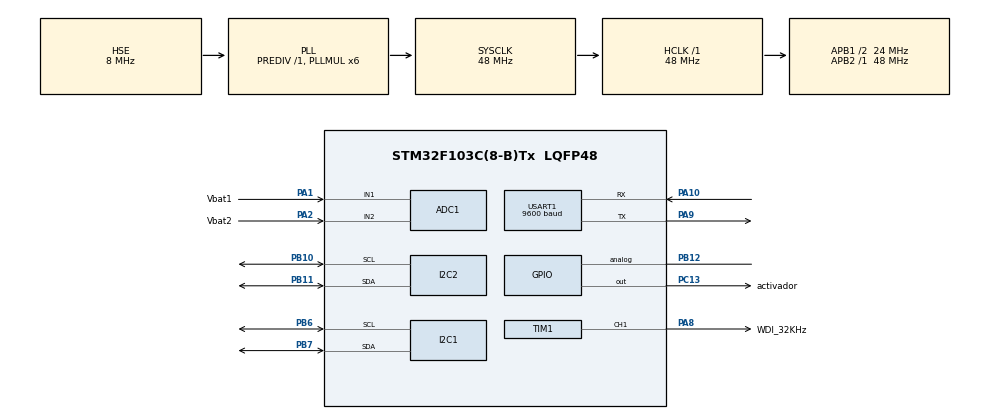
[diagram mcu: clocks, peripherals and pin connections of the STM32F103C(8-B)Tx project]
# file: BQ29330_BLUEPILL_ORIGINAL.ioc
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ADC1.Channel-0\#ChannelRegularConversion=ADC_CHANNEL_1
ADC1.Channel-1\#ChannelRegularConversion=ADC_CHANNEL_2
ADC1.ContinuousConvMode=ENABLE
ADC1.NbrOfConversion=2
ADC1.NbrOfConversionFlag=1
ADC1.Rank-0\#ChannelRegularConversion=1
ADC1.Rank-1\#ChannelRegularConversion=2
ADC1.SamplingTime-0\#ChannelRegularConversion=ADC_SAMPLETIME_239CYCLES_5
ADC1.SamplingTime-1\#ChannelRegularConversion=ADC_SAMPLETIME_239CYCLES_5
ADC1.master=1
Dma.ADC1.0.Direction=DMA_PERIPH_TO_MEMORY
Dma.ADC1.0.Instance=DMA1_Channel1
Dma.ADC1.0.MemDataAlignment=DMA_MDATAALIGN_HALFWORD
Dma.ADC1.0.MemInc=DMA_MINC_ENABLE
Dma.ADC1.0.Mode=DMA_CIRCULAR
Dma.ADC1.0.PeriphDataAlignment=DMA_PDATAALIGN_HALFWORD
Dma.ADC1.0.PeriphInc=DMA_PINC_DISABLE
Dma.ADC1.0.Priority=DMA_PRIORITY_LOW
Dma.Request0=ADC1
Mcu.Family=STM32F1
Mcu.Name=STM32F103C(8-B)Tx
Mcu.Package=LQFP48
NVIC.ADC1_2_IRQn=true\:0\:0\:false\:false\:true\:true\:true\:true
NVIC.DMA1_Channel1_IRQn=true\:0\:0\:false\:false\:true\:false\:true\:true
NVIC.PriorityGroup=NVIC_PRIORITYGROUP_4
PA1.GPIO_Label=Vbat1
PA1.Signal=ADCx_IN1
PA10.Mode=Asynchronous
PA10.Signal=USART1_RX
PA13.Mode=Serial_Wire
PA13.Signal=SYS_JTMS-SWDIO
PA14.Mode=Serial_Wire
PA14.Signal=SYS_JTCK-SWCLK
PA2.GPIO_Label=Vbat2
PA2.Signal=ADCx_IN2
PA8.GPIO_Label=WDI_32KHz
PA8.Signal=S_TIM1_CH1
PA9.Mode=Asynchronous
PA9.Signal=USART1_TX
PB10.Mode=I2C
PB10.Signal=I2C2_SCL
PB11.Mode=I2C
PB11.Signal=I2C2_SDA
PB12.Signal=GPIO_Analog
PB6.Mode=I2C
PB6.Signal=I2C1_SCL
PB7.Mode=I2C
PB7.Signal=I2C1_SDA
PC13-TAMPER-RTC.GPIO_Label=activador
PC13-TAMPER-RTC.Signal=GPIO_Output
PD0-OSC_IN.Mode=HSE-External-Oscillator
PD0-OSC_IN.Signal=RCC_OSC_IN
PD1-OSC_OUT.Mode=HSE-External-Oscillator
PD1-OSC_OUT.Signal=RCC_OSC_OUT
ProjectManager.HeapSize=0x200
ProjectManager.StackSize=0x400
ProjectManager.TargetToolchain=STM32CubeIDE
RCC.ADCPresc=RCC_ADCPCLK2_DIV4
RCC.AHBFreq_Value=48000000
RCC.APB1CLKDivider=RCC_HCLK_DIV2
RCC.APB1Freq_Value=24000000
RCC.APB1TimFreq_Value=48000000
RCC.APB2Freq_Value=48000000
RCC.APB2TimFreq_Value=48000000
RCC.HCLKFreq_Value=48000000
RCC.PLLMUL=RCC_PLL_MUL6
RCC.PLLSourceVirtual=RCC_PLLSOURCE_HSE
RCC.SYSCLKFreq_VALUE=48000000
RCC.SYSCLKSource=RCC_SYSCLKSOURCE_PLLCLK
RCC.USBFreq_Value=48000000
SH.ADCx_IN1.0=ADC1_IN1,IN1
SH.ADCx_IN2.0=ADC1_IN2,IN2
SH.S_TIM1_CH1.0=TIM1_CH1,PWM Generation1 CH1
TIM1.Channel-PWM\ Generation1\ CH1=TIM_CHANNEL_1
TIM1.ClockDivision=TIM_CLOCKDIVISION_DIV2
TIM1.Period=750
TIM1.Prescaler=1
USART1.BaudRate=9600
USART1.VirtualMode=VM_ASYNC
board=custom

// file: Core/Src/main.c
/* USER CODE BEGIN Header */
/**
  ******************************************************************************
  * @file           : main.c
  * @brief          : Main program body
  ******************************************************************************
  * @attention
  *
  * Copyright (c) 2025 STMicroelectronics.
  * All rights reserved.
  *
  * This software is licensed under terms that can be found in the LICENSE file
  * in the root directory of this software component.
  * If no LICENSE file comes with this software, it is provided AS-IS.
  *
  ******************************************************************************
  */
/* USER CODE END Header */
#include "main.h"
#include "adc.h"
#include "dma.h"
#include "i2c.h"
#include "tim.h"
#include "usart.h"
#include "gpio.h"

/* USER CODE BEGIN PD */
#define DELAY 1000
/* USER CODE END PD */

void SystemClock_Config(void);

/* USER CODE BEGIN 0 */
uint8_t convCompleted=0;

void HAL_ADC_ConvCpltCallback(ADC_HandleTypeDef* hadc)
{
	convCompleted=1;
}

/* USER CODE END 0 */

int main(void)
{

  /* MCU Configuration--------------------------------------------------------*/

  /* Reset of all peripherals, Initializes the Flash interface and the Systick. */
  HAL_Init();

  /* Configure the system clock */
  SystemClock_Config();

  /* Initialize all configured peripherals */
  MX_GPIO_Init();
  MX_DMA_Init();
  MX_USART1_UART_Init();
  MX_ADC1_Init();
  MX_TIM1_Init();
  MX_I2C1_Init();
  MX_I2C2_Init();
  /* USER CODE BEGIN 2 */

  //start PWMs and set the duty to 50%
  HAL_TIM_PWM_Start(&htim1, TIM_CHANNEL_1);
  __HAL_TIM_SET_COMPARE(&htim1, TIM_CHANNEL_1, htim1.Init.Period/2);

  //ADC Variables
   uint16_t rawValues[2];
   HAL_ADC_Start_DMA(&hadc1,(uint32_t *) rawValues, 2);

   //BMS
   BQ29330_WriteRegister(BQ29330_OUTPUT_CONTROL,0x06);
   BQ29330_Device bq = { .hi2c = &hi2c1 };
   int n = 0;

  /* USER CODE END 2 */

  /* Infinite loop */
  while (1)
  {

    /* USER CODE BEGIN 3 */

	//read all adcs
	while(!convCompleted);

	uint16_t cell_mas = rawValues[0] * CONVERSION_FACTOR;
	uint16_t cell_menos = rawValues[1] * CONVERSION_FACTOR;
	uint16_t difference = BMSVoltageCorrection(cell_mas - cell_menos); //correcion tener la tension de la celda
	//sendUsartMsg("Tension cell +: ", rawValues[0]);
	sendUsartMsg("Tension cell -: ", rawValues[1]);
//	sendUsartMsg("Tension celda: ", difference);

/*
	// Imprimo cosas por i2c al arduino
	char buffer[STR_LEN];
	snprintf(buffer, STR_LEN, "\n \n I LIKE THE WAY YOU WORKING \n");
	HAL_I2C_Master_Transmit(&hi2c1, ARDUINO_I2C_ADDRESS << 1, (uint8_t *) buffer, strlen(buffer), HAL_MAX_DELAY);
    sprintf(buffer,"Corriente: %u \n", current);
	HAL_I2C_Master_Transmit(&hi2c1, ARDUINO_I2C_ADDRESS << 1, (uint8_t*)buffer, strlen(buffer), HAL_MAX_DELAY);
*/
	//FORMA NUEVA DE IMPRIMIR LLAMANDO A UNA FUNCION SI NO ANDA USAR LA FORMA VIEJA

	//BMS 29330

    //escribo
    BQ29330_WriteRegister(BQ29330_STATE_CONTROL, 0x0C);   // WDDIS = 1, all else = 0
    BQ29330_WriteRegister(BQ29330_FUNCTION_CONTROL, 0x01); // VMEN||BAT = 0
    BQ29330_WriteRegister(BQ29330_CELL, 0x01); 			   //
    BQ29330_WriteRegister(BQ29330_OLV, 0x00);              // 50 mV 0x00
    BQ29330_WriteRegister(BQ29330_OLD, 0x0F);              // 31 ms
    BQ29330_WriteRegister(BQ29330_SCC, 0x00);              // 475 mV y 915 μs
    BQ29330_WriteRegister(BQ29330_SCD, 0x00);              // idem for discharge
    n++;
    n = n%2;

    //leo
	HAL_StatusTypeDef statusI2c = BQ29330_ReadFunctionControl(BQ29330_STATUS, &bq.BQ29330_status);

	//LEO el registro que escribi
	statusI2c =  BQ29330_ReadFunctionControl(BQ29330_OUTPUT_CONTROL, &bq.BQ29330_output_countrol);
	statusI2c =  BQ29330_ReadFunctionControl(BQ29330_STATE_CONTROL, &bq.BQ29330_state_countrol);
	statusI2c =  BQ29330_ReadFunctionControl(BQ29330_FUNCTION_CONTROL, &bq.BQ29330_function_control);
	statusI2c =  BQ29330_ReadFunctionControl(BQ29330_CELL, &bq.BQ29330_cell);
	statusI2c =  BQ29330_ReadFunctionControl(BQ29330_OLV, &bq.BQ29330_OLV);
	statusI2c =  BQ29330_ReadFunctionControl(BQ29330_OLD, &bq.BQ29330_OLD);
	statusI2c =  BQ29330_ReadFunctionControl(BQ29330_SCC, &bq.BQ29330_SCC);
	statusI2c =  BQ29330_ReadFunctionControl(BQ29330_SCD, &bq.BQ29330_SCD);
/*
	sendUsartMsg("statusI2c : ", statusI2c);
	sendUsartMsg("celda medida : ", n + 1);

	sendUsartMsg("Estatus del bms : ", bq.BQ29330_status);
	sendUsartMsg("OUTPUT_CONTROL : ", bq.BQ29330_output_countrol);
	sendUsartMsg("STATE_CONTROL : ", bq.BQ29330_state_countrol);
	sendUsartMsg("FUNCTION_CONTROL : ", bq.BQ29330_function_control);
	sendUsartMsg("CELL : ", bq.BQ29330_cell);
	sendUsartMsg("OLV (Overload voltage threshold): ", bq.BQ29330_OLV);
	sendUsartMsg("OLD (Overload delay time): ", bq.BQ29330_OLD);
	sendUsartMsg("SCC (Short circuit in charge): ", bq.BQ29330_SCC);
	sendUsartMsg("SCD (Short circuit in discharge): ", bq.BQ29330_SCD);

*/
	//si hay una fall reiniciar el bq
	if(bq.BQ29330_status & (1U << 4) || (bq.BQ29330_status && bq.BQ29330_status != 16)){
	    BQ29330_WriteRegister(BQ29330_OUTPUT_CONTROL,0x07);
	    BQ29330_WriteRegister(BQ29330_OUTPUT_CONTROL,0x06);
		statusI2c = BQ29330_ReadFunctionControl(BQ29330_STATUS, &bq.BQ29330_status);
	    sendUsartMsg("Estatus del bms despues del latch: ", bq.BQ29330_status);
    }

	sendUsartMsg("\n", 1);

/*
	uint16_t shuntVoltage = INA219_ReadShuntVoltage();
	uint16_t busVoltage = INA219_ReadBusVoltage();
	uint16_t current_mA = INA219_ReadCurrent();
	uint16_t power_mW = INA219_ReadPower();
	uint16_t loadVoltage = busVoltage + (shuntVoltage / 1000.0f);
	sendI2CMsg("Bus Voltage: ", busVoltage);
	sendI2CMsg("Shunt Voltage: ", shuntVoltage);
	sendI2CMsg("Load Voltage: ", loadVoltage);
	sendI2CMsg("Current: ", current_mA);
	sendI2CMsg("Power: ", power_mW);
*/

	HAL_GPIO_TogglePin(GPIOC, GPIO_PIN_13);

	HAL_Delay(DELAY);

  }
  /* USER CODE END 3 */
}

void SystemClock_Config(void)
{
  RCC_OscInitTypeDef RCC_OscInitStruct = {0};
  RCC_ClkInitTypeDef RCC_ClkInitStruct = {0};
  RCC_PeriphCLKInitTypeDef PeriphClkInit = {0};

  /** Initializes the RCC Oscillators according to the specified parameters
  * in the RCC_OscInitTypeDef structure.
  */
  RCC_OscInitStruct.OscillatorType = RCC_OSCILLATORTYPE_HSE;
  RCC_OscInitStruct.HSEState = RCC_HSE_ON;
  RCC_OscInitStruct.HSEPredivValue = RCC_HSE_PREDIV_DIV1;
  RCC_OscInitStruct.HSIState = RCC_HSI_ON;
  RCC_OscInitStruct.PLL.PLLState = RCC_PLL_ON;
  RCC_OscInitStruct.PLL.PLLSource = RCC_PLLSOURCE_HSE;
  RCC_OscInitStruct.PLL.PLLMUL = RCC_PLL_MUL6;
  if (HAL_RCC_OscConfig(&RCC_OscInitStruct) != HAL_OK)
  {
    Error_Handler();
  }

  /** Initializes the CPU, AHB and APB buses clocks
  */
  RCC_ClkInitStruct.ClockType = RCC_CLOCKTYPE_HCLK|RCC_CLOCKTYPE_SYSCLK
                              |RCC_CLOCKTYPE_PCLK1|RCC_CLOCKTYPE_PCLK2;
  RCC_ClkInitStruct.SYSCLKSource = RCC_SYSCLKSOURCE_PLLCLK;
  RCC_ClkInitStruct.AHBCLKDivider = RCC_SYSCLK_DIV1;
  RCC_ClkInitStruct.APB1CLKDivider = RCC_HCLK_DIV2;
  RCC_ClkInitStruct.APB2CLKDivider = RCC_HCLK_DIV1;

  if (HAL_RCC_ClockConfig(&RCC_ClkInitStruct, FLASH_LATENCY_1) != HAL_OK)
  {
    Error_Handler();
  }
  PeriphClkInit.PeriphClockSelection = RCC_PERIPHCLK_ADC;
  PeriphClkInit.AdcClockSelection = RCC_ADCPCLK2_DIV4;
  if (HAL_RCCEx_PeriphCLKConfig(&PeriphClkInit) != HAL_OK)
  {
    Error_Handler();
  }
}

void Error_Handler(void)
{
  /* USER CODE BEGIN Error_Handler_Debug */
  /* User can add his own implementation to report the HAL error return state */
  __disable_irq();
  while (1)
  {
		sendUsartMsg("Estoy en error handle ", 404);

  }
  /* USER CODE END Error_Handler_Debug */
}

#ifdef  USE_FULL_ASSERT
/**
  * @brief  Reports the name of the source file and the source line number
  *         where the assert_param error has occurred.
  * @param  file: pointer to the source file name
  * @param  line: assert_param error line source number
  * @retval None
  */
void assert_failed(uint8_t *file, uint32_t line)
{
  /* USER CODE BEGIN 6 */
  /* User can add his own implementation to report the file name and line number,
     ex: printf("Wrong parameters value: file %s on line %d\r\n", file, line) */
	sendUsartMsg("Parametros de assert fallidos ", 404);

  /* USER CODE END 6 */
}
#endif /* USE_FULL_ASSERT */
